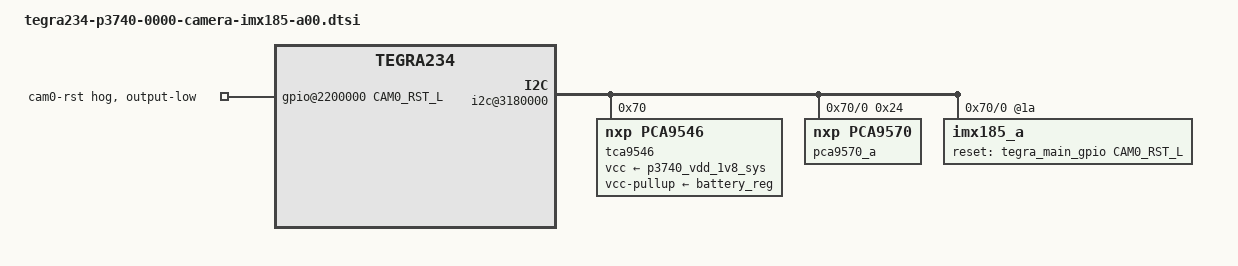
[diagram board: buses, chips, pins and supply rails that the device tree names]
/*
 * Copyright (c) 2017-2021, NVIDIA CORPORATION.  All rights reserved.
 *
 * This program is free software; you can redistribute it and/or modify it
 * under the terms and conditions of the GNU General Public License,
 * version 2, as published by the Free Software Foundation.
 *
 * This program is distributed in the hope it will be useful, but WITHOUT
 * ANY WARRANTY; without even the implied warranty of MERCHANTABILITY or
 * FITNESS FOR A PARTICULAR PURPOSE.  See the GNU General Public License for
 * more details.
 *
 * You should have received a copy of the GNU General Public License
 * along with this program.  If not, see <http://www.gnu.org/licenses/>.
 */
#include <t234-common-modules/tegra234-camera-imx185-a00.dtsi>
#include "dt-bindings/clock/tegra234-clock.h"

#define CAM0_RST_L	TEGRA234_MAIN_GPIO(H, 3)
#define CAMERA_I2C_MUX_BUS(x) (0x1E + x)

/* camera control gpio definitions */

/ {
	gpio@2200000 {
		camera-control-output-low {
			gpio-hog;
			output-low;
			gpios = <CAM0_RST_L 0>;
			label = "cam0-rst";
		};
	};

	i2c@3180000 {
		tca9546@70 {
			compatible = "nxp,pca9546";
			reg = <0x70>;
			#address-cells = <1>;
			#size-cells = <0>;
			skip_mux_detect = "yes";
			vcc-supply = <&p3740_vdd_1v8_sys>;
			vcc-pullup-supply = <&battery_reg>;
			force_bus_start = <CAMERA_I2C_MUX_BUS(0)>;

			i2c@0 {
				reg = <0>;
				i2c-mux,deselect-on-exit;
				#address-cells = <1>;
				#size-cells = <0>;
				pca9570_a@24 {
					compatible = "nxp,pca9570";
					reg = <0x24>;
					channel = "a";
					drive_ic = "DRV8838";
				};

				imx185_a@1a {
					/* Define any required hw resources needed by driver */
					/* ie. clocks, io pins, power sources */
					clocks = <&bpmp_clks TEGRA234_CLK_EXTPERIPH1>,
							 <&bpmp_clks TEGRA234_CLK_EXTPERIPH1>;
					clock-names = "extperiph1", "pllp_grtba";
					mclk = "extperiph1";
					reset-gpios = <&tegra_main_gpio CAM0_RST_L GPIO_ACTIVE_HIGH>;
				};
			};
		};
	};
};
